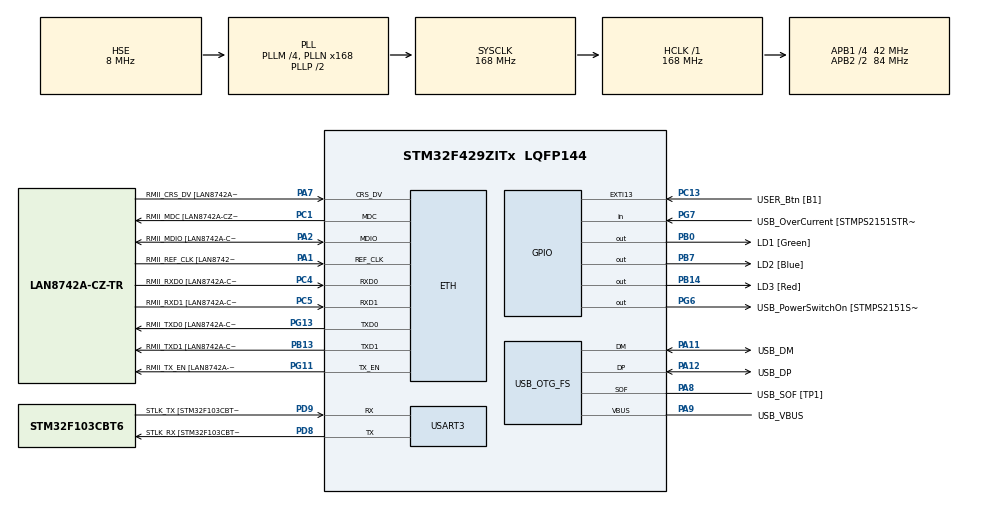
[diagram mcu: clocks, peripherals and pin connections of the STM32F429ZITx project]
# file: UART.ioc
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ETH.MediaInterface=HAL_ETH_RMII_MODE
ETH.PHY_Name=LAN8742A_PHY_ADDRESS
ETH.PHY_Value=0
ETH.PhyAddress=0
Mcu.Family=STM32F4
Mcu.Name=STM32F429ZITx
Mcu.Package=LQFP144
NVIC.PriorityGroup=NVIC_PRIORITYGROUP_4
NVIC.USART3_IRQn=true\:0\:0\:false\:true\:true\:1\:true\:true\:true
PA1.GPIO_Label=RMII_REF_CLK [LAN8742A-CZ-TR_REFCLK0]
PA1.Mode=RMII
PA1.Signal=ETH_REF_CLK
PA10.GPIO_Label=USB_ID
PA10.Signal=USB_OTG_FS_ID
PA11.GPIO_Label=USB_DM
PA11.Mode=Device_Only
PA11.Signal=USB_OTG_FS_DM
PA12.GPIO_Label=USB_DP
PA12.Mode=Device_Only
PA12.Signal=USB_OTG_FS_DP
PA13.GPIO_Label=TMS
PA13.Mode=Serial_Wire
PA13.Signal=SYS_JTMS-SWDIO
PA14.GPIO_Label=TCK
PA14.Mode=Serial_Wire
PA14.Signal=SYS_JTCK-SWCLK
PA2.GPIO_Label=RMII_MDIO [LAN8742A-CZ-TR_MDIO]
PA2.Mode=RMII
PA2.Signal=ETH_MDIO
PA7.GPIO_Label=RMII_CRS_DV [LAN8742A-CZ-TR_CRS_DV]
PA7.Mode=RMII
PA7.Signal=ETH_CRS_DV
PA8.GPIO_Label=USB_SOF [TP1]
PA8.Mode=Activate_SOF_FS
PA8.Signal=USB_OTG_FS_SOF
PA9.GPIO_Label=USB_VBUS
PA9.Mode=Activate_VBUS
PA9.Signal=USB_OTG_FS_VBUS
PB0.GPIO_Label=LD1 [Green]
PB0.Signal=GPIO_Output
PB13.GPIO_Label=RMII_TXD1 [LAN8742A-CZ-TR_TXD1]
PB13.Mode=RMII
PB13.Signal=ETH_TXD1
PB14.GPIO_Label=LD3 [Red]
PB14.Signal=GPIO_Output
PB7.GPIO_Label=LD2 [Blue]
PB7.Signal=GPIO_Output
PC1.GPIO_Label=RMII_MDC [LAN8742A-CZ-TR_MDC]
PC1.Mode=RMII
PC1.Signal=ETH_MDC
PC13.GPIO_Label=USER_Btn [B1]
PC13.Signal=GPXTI13
PC14/OSC32_IN.Mode=LSE-External-Oscillator
PC14/OSC32_IN.Signal=RCC_OSC32_IN
PC15/OSC32_OUT.Mode=LSE-External-Oscillator
PC15/OSC32_OUT.Signal=RCC_OSC32_OUT
PC4.GPIO_Label=RMII_RXD0 [LAN8742A-CZ-TR_RXD0]
PC4.Mode=RMII
PC4.Signal=ETH_RXD0
PC5.GPIO_Label=RMII_RXD1 [LAN8742A-CZ-TR_RXD1]
PC5.Mode=RMII
PC5.Signal=ETH_RXD1
PD8.GPIO_Label=STLK_RX [STM32F103CBT6_PA3]
PD8.Mode=Asynchronous
PD8.Signal=USART3_TX
PD9.GPIO_Label=STLK_TX [STM32F103CBT6_PA2]
PD9.Mode=Asynchronous
PD9.Signal=USART3_RX
PG11.GPIO_Label=RMII_TX_EN [LAN8742A-CZ-TR_TXEN]
PG11.Mode=RMII
PG11.Signal=ETH_TX_EN
PG13.GPIO_Label=RMII_TXD0 [LAN8742A-CZ-TR_TXD0]
PG13.Mode=RMII
PG13.Signal=ETH_TXD0
PG6.GPIO_Label=USB_PowerSwitchOn [STMPS2151STR_EN]
PG6.Signal=GPIO_Output
PG7.GPIO_Label=USB_OverCurrent [STMPS2151STR_FAULT]
PG7.Signal=GPIO_Input
PH0/OSC_IN.GPIO_Label=MCO [STM32F103CBT6_PA8]
PH0/OSC_IN.Mode=HSE-External-Clock-Source
PH0/OSC_IN.Signal=RCC_OSC_IN
PH1/OSC_OUT.Mode=HSE-External-Clock-Source
PH1/OSC_OUT.Signal=RCC_OSC_OUT
ProjectManager.HeapSize=0x200
ProjectManager.StackSize=0x400
ProjectManager.TargetToolchain=STM32CubeIDE
RCC.48MHZClocksFreq_Value=48000000
RCC.AHBFreq_Value=168000000
RCC.APB1CLKDivider=RCC_HCLK_DIV4
RCC.APB1Freq_Value=42000000
RCC.APB1TimFreq_Value=84000000
RCC.APB2CLKDivider=RCC_HCLK_DIV2
RCC.APB2Freq_Value=84000000
RCC.APB2TimCLKDivider=2
RCC.APB2TimFreq_Value=168000000
RCC.CortexFreq_Value=168000000
RCC.HCLKFreq_Value=168000000
RCC.HSE_VALUE=8000000
RCC.HSI_VALUE=16000000
RCC.PLLM=4
RCC.PLLMUL=RCC_PLL_MUL9
RCC.PLLN=168
RCC.PLLQ=7
RCC.PRESCALERUSB=RCC_USBCLKSOURCE_PLL_DIV1_5
RCC.SYSCLKFreq_VALUE=168000000
RCC.SYSCLKSource=RCC_SYSCLKSOURCE_PLLCLK
RCC.SYSCLKSourceVirtual=RCC_SYSCLKSOURCE_PLLCLK
RCC.USBFreq_Value=48000000
RCC.VCOOutputFreq_Value=336000000
USART3.VirtualMode=VM_ASYNC
USB_OTG_FS.VirtualMode=Device_Only
board=NUCLEO-F429ZI

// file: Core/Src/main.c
/* USER CODE BEGIN Header */
/**
  ******************************************************************************
  * @file           : main.c
  * @brief          : Main program body
  ******************************************************************************
  * @attention
  *
  * Copyright (c) 2023 STMicroelectronics.
  * All rights reserved.
  *
  * This software is licensed under terms that can be found in the LICENSE file
  * in the root directory of this software component.
  * If no LICENSE file comes with this software, it is provided AS-IS.
  *
  ******************************************************************************
  */
/* USER CODE END Header */
#include "main.h"
#include "eth.h"
#include "usart.h"
#include "usb_otg.h"
#include "gpio.h"

/* USER CODE BEGIN Includes */
#include "stdio.h"
#include "string.h"
/* USER CODE END Includes */

void SystemClock_Config(void);
static void MX_NVIC_Init(void);

/* USER CODE BEGIN 0 */
int _write(int file, char *ptr, int len)
{
	HAL_UART_Transmit(&huart3, (uint8_t *)ptr, len, 500);
	return len;
}

int __io_putchar(int ch)
{
	HAL_UART_Transmit(&huart3, (uint8_t *)&ch, 1, 1000);
	return ch;
}

uint8_t data[] = "Hello STM32F429 World !!! \r\n";

char uart_buf[30];

int count = 0;

uint8_t rx_data;
/* USER CODE END 0 */

int main(void)
{

  /* MCU Configuration--------------------------------------------------------*/

  /* Reset of all peripherals, Initializes the Flash interface and the Systick. */
  HAL_Init();

  /* Configure the system clock */
  SystemClock_Config();

  /* Initialize all configured peripherals */
  MX_GPIO_Init();
  MX_ETH_Init();
  MX_USART3_UART_Init();
  MX_USB_OTG_FS_PCD_Init();

  /* Initialize interrupts */
  MX_NVIC_Init();
  /* USER CODE BEGIN 2 */
  HAL_UART_Receive_IT(&huart3, (uint8_t *)rx_data, 1);

  /* USER CODE END 2 */

  /* Infinite loop */
  /* USER CODE BEGIN WHILE */
  while (1)
  {
//	  printf("USART print test count=%d\r\n", count++);
//	  HAL_Delay(500);

//	  if (HAL_UART_Receive(&huart3, (uint8_t *)&data, sizeof(data), 500))
//	  {
//		  HAL_UART_Transmit(&huart3, (uint8_t *)&data, sizeof(data), 500);
//		  HAL_GPIO_TogglePin(GPIOB, LD1_Pin|LD2_Pin|LD3_Pin);
//	  }

//	  if (HAL_UART_Receive(&huart3, (uint8_t *)&uart_buf, 1, 1000) == HAL_OK)
//	  {
//		  HAL_UART_Transmit(&huart3, (uint8_t *)&uart_buf, 1, 1000);
//	  }
    /* USER CODE END WHILE */

  }
}

void SystemClock_Config(void)
{
  RCC_OscInitTypeDef RCC_OscInitStruct = {0};
  RCC_ClkInitTypeDef RCC_ClkInitStruct = {0};

  /** Configure the main internal regulator output voltage
  */
  __HAL_RCC_PWR_CLK_ENABLE();
  __HAL_PWR_VOLTAGESCALING_CONFIG(PWR_REGULATOR_VOLTAGE_SCALE1);

  /** Initializes the RCC Oscillators according to the specified parameters
  * in the RCC_OscInitTypeDef structure.
  */
  RCC_OscInitStruct.OscillatorType = RCC_OSCILLATORTYPE_HSE;
  RCC_OscInitStruct.HSEState = RCC_HSE_BYPASS;
  RCC_OscInitStruct.PLL.PLLState = RCC_PLL_ON;
  RCC_OscInitStruct.PLL.PLLSource = RCC_PLLSOURCE_HSE;
  RCC_OscInitStruct.PLL.PLLM = 4;
  RCC_OscInitStruct.PLL.PLLN = 168;
  RCC_OscInitStruct.PLL.PLLP = RCC_PLLP_DIV2;
  RCC_OscInitStruct.PLL.PLLQ = 7;
  if (HAL_RCC_OscConfig(&RCC_OscInitStruct) != HAL_OK)
  {
    Error_Handler();
  }

  /** Initializes the CPU, AHB and APB buses clocks
  */
  RCC_ClkInitStruct.ClockType = RCC_CLOCKTYPE_HCLK|RCC_CLOCKTYPE_SYSCLK
                              |RCC_CLOCKTYPE_PCLK1|RCC_CLOCKTYPE_PCLK2;
  RCC_ClkInitStruct.SYSCLKSource = RCC_SYSCLKSOURCE_PLLCLK;
  RCC_ClkInitStruct.AHBCLKDivider = RCC_SYSCLK_DIV1;
  RCC_ClkInitStruct.APB1CLKDivider = RCC_HCLK_DIV4;
  RCC_ClkInitStruct.APB2CLKDivider = RCC_HCLK_DIV2;

  if (HAL_RCC_ClockConfig(&RCC_ClkInitStruct, FLASH_LATENCY_5) != HAL_OK)
  {
    Error_Handler();
  }
}

/**
  * @brief NVIC Configuration.
  * @retval None
  */
static void MX_NVIC_Init(void)
{
  /* USART3_IRQn interrupt configuration */
  HAL_NVIC_SetPriority(USART3_IRQn, 0, 0);
  HAL_NVIC_EnableIRQ(USART3_IRQn);
}

/* USER CODE BEGIN 4 */
void HAL_UART_RxCpltCallback(UART_HandleTypeDef *huart)
{
	if(huart -> Instance == USART3)
	{
		HAL_UART_Receive_IT(&huart3, (uint8_t *)&rx_data, 1);
		HAL_UART_Transmit(&huart3, (uint8_t *)&rx_data, 1, 500);
	}
}

/* USER CODE END 4 */

void Error_Handler(void)
{
  __disable_irq();
  while (1)
  {
  }
}
